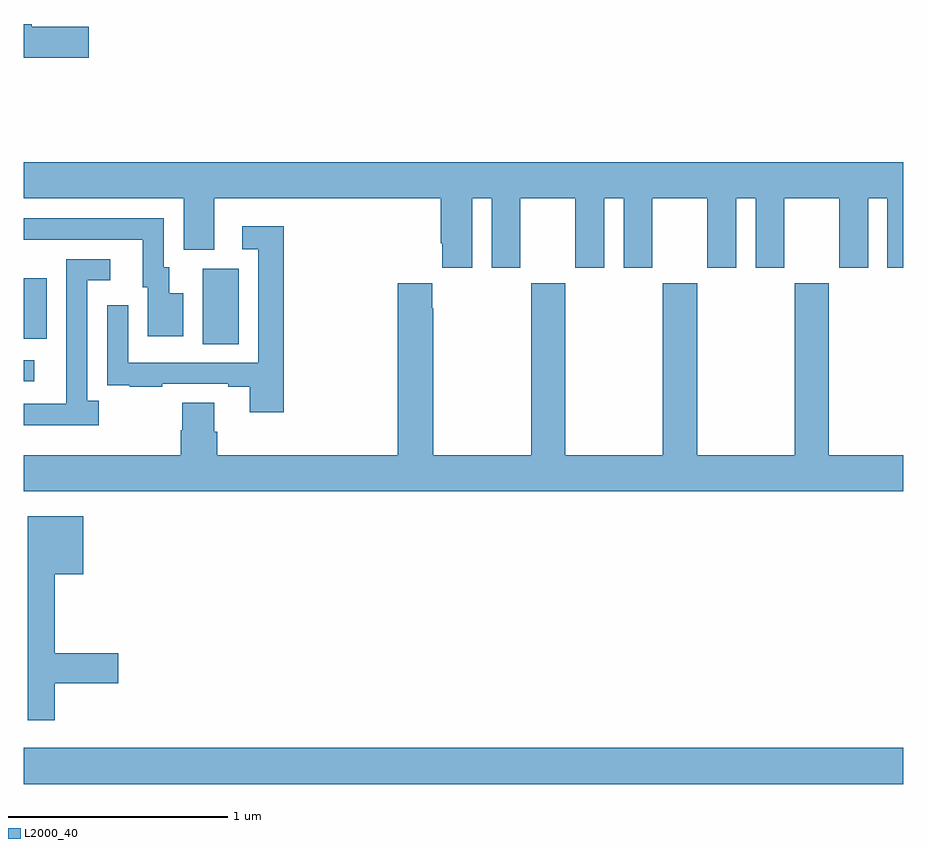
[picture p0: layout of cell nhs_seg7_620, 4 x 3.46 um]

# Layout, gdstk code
import gdstk
lib = gdstk.Library(unit=1e-6, precision=1e-09)
def R(c, l, rs):  # rectangles x0, y0, x1, y1
    for r in rs: c.add(gdstk.rectangle(r[:2], r[2:], *l))
def P(c, l, *ps):  # polygons
    for p in ps: c.add(gdstk.Polygon(p, *l))
L2000_40 = (2000, 40)

nhs_seg7_620 = lib.new_cell('nhs_seg7_620')
R(nhs_seg7_620, L2000_40, [(157,1072.544,161,1072.708), (157,1074.375,157.048,1074.471), (157.814,1074.544,157.978,1074.888), (157,1074.569,157.105,1074.844)])
P(nhs_seg7_620, L2000_40, [(157.297,1075.988),(157.036,1075.988),(157.036,1076),(157,1076),(157,1075.846),(157.297,1075.846)],
  [(159.04,1075.208),(159.128,1075.208),(159.128,1074.891),(159.259,1074.891),(159.259,1075.208),(159.509,1075.208),(159.509,1074.891),(159.64,1074.891),(159.64,1075.208),(159.728,1075.208),(159.728,1074.891),(159.859,1074.891),(159.859,1075.208),(160.109,1075.208),(160.109,1074.891),(160.24,1074.891),(160.24,1075.208),(160.328,1075.208),(160.328,1074.891),(160.459,1074.891),(160.459,1075.208),(160.709,1075.208),(160.709,1074.891),(160.84,1074.891),(160.84,1075.208),(160.928,1075.208),(160.928,1074.891),(161,1074.891),(161,1075.372),(157,1075.372),(157,1075.208),(157.727,1075.208),(157.727,1074.973),(157.867,1074.973),(157.867,1075.208),(158.897,1075.208),(158.897,1075.003),(158.903,1075.003),(158.903,1074.891),(159.04,1074.891)],
  [(157.726,1074.775),(157.663,1074.775),(157.663,1074.894),(157.638,1074.894),(157.638,1075.116),(157,1075.116),(157,1075.02),(157.541,1075.02),(157.541,1074.804),(157.565,1074.804),(157.565,1074.579),(157.726,1074.579)],
  [(158.183,1075.081),(157.995,1075.081),(157.995,1074.975),(158.067,1074.975),(158.067,1074.459),(157.476,1074.459),(157.476,1074.721),(157.38,1074.721),(157.38,1074.466),(157.381,1074.466),(157.381,1074.357),(157.483,1074.357),(157.483,1074.351),(157.631,1074.351),(157.631,1074.363),(157.931,1074.363),(157.931,1074.351),(158.027,1074.351),(158.027,1074.234),(158.183,1074.234)],
  [(157.342,1074.286),(157.29,1074.286),(157.29,1074.834),(157.393,1074.834),(157.393,1074.93),(157.194,1074.93),(157.194,1074.473),(157.193,1074.473),(157.193,1074.273),(157,1074.273),(157,1074.176),(157.342,1074.176)],
  [(161,1074.04),(160.662,1074.04),(160.662,1074.82),(160.507,1074.82),(160.507,1074.04),(160.062,1074.04),(160.062,1074.82),(159.907,1074.82),(159.907,1074.04),(159.462,1074.04),(159.462,1074.82),(159.307,1074.82),(159.307,1074.04),(158.862,1074.04),(158.862,1074.707),(158.857,1074.707),(158.857,1074.82),(158.702,1074.82),(158.702,1074.04),(157.88,1074.04),(157.88,1074.146),(157.867,1074.146),(157.867,1074.278),(157.72,1074.278),(157.72,1074.153),(157.715,1074.153),(157.715,1074.04),(157,1074.04),(157,1073.876),(161,1073.876)],
  [(157.141,1073.002),(157.429,1073.002),(157.429,1073.139),(157.141,1073.139),(157.141,1073.498),(157.27,1073.498),(157.27,1073.761),(157.019,1073.761),(157.019,1072.833),(157.141,1072.833)])

lib.write_gds('nhs_seg7_620.gds')
